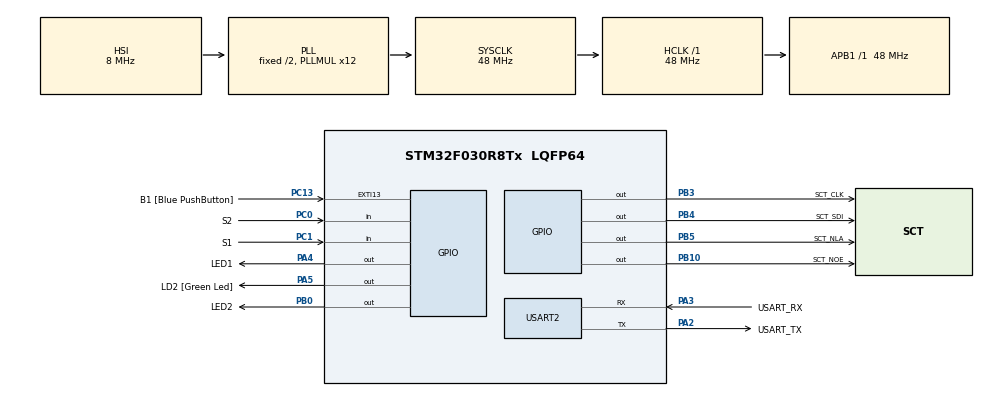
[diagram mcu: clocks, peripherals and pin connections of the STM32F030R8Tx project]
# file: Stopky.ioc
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Mcu.Family=STM32F0
Mcu.Name=STM32F030R8Tx
Mcu.Package=LQFP64
PA13.GPIO_Label=TMS
PA13.Mode=Serial_Wire
PA13.Signal=SYS_SWDIO
PA14.GPIO_Label=TCK
PA14.Mode=Serial_Wire
PA14.Signal=SYS_SWCLK
PA2.GPIO_Label=USART_TX
PA2.GPIO_Mode=GPIO_MODE_AF_PP
PA2.GPIO_PuPd=GPIO_NOPULL
PA2.GPIO_Speed=GPIO_SPEED_FREQ_LOW
PA2.Mode=Asynchronous
PA2.Signal=USART2_TX
PA3.GPIO_Label=USART_RX
PA3.GPIO_Mode=GPIO_MODE_AF_PP
PA3.GPIO_PuPd=GPIO_NOPULL
PA3.GPIO_Speed=GPIO_SPEED_FREQ_LOW
PA3.Mode=Asynchronous
PA3.Signal=USART2_RX
PA4.GPIO_Label=LED1
PA4.Signal=GPIO_Output
PA5.GPIO_Label=LD2 [Green Led]
PA5.GPIO_Mode=GPIO_MODE_OUTPUT_PP
PA5.GPIO_PuPd=GPIO_NOPULL
PA5.GPIO_Speed=GPIO_SPEED_FREQ_LOW
PA5.Signal=GPIO_Output
PB0.GPIO_Label=LED2
PB0.Signal=GPIO_Output
PB10.GPIO_Label=SCT_NOE
PB10.Signal=GPIO_Output
PB3.GPIO_Label=SCT_CLK
PB3.Signal=GPIO_Output
PB4.GPIO_Label=SCT_SDI
PB4.Signal=GPIO_Output
PB5.GPIO_Label=SCT_NLA
PB5.Signal=GPIO_Output
PC0.GPIO_Label=S2
PC0.GPIO_PuPd=GPIO_PULLUP
PC0.Signal=GPIO_Input
PC1.GPIO_Label=S1
PC1.GPIO_PuPd=GPIO_PULLUP
PC1.Signal=GPIO_Input
PC13.GPIO_Label=B1 [Blue PushButton]
PC13.GPIO_ModeDefaultEXTI=GPIO_MODE_IT_FALLING
PC13.Signal=GPXTI13
PC14-OSC32_IN.Mode=LSE-External-Oscillator
PC14-OSC32_IN.Signal=RCC_OSC32_IN
PC15-OSC32_OUT.Mode=LSE-External-Oscillator
PC15-OSC32_OUT.Signal=RCC_OSC32_OUT
PF0-OSC_IN.Mode=HSE-External-Clock-Source
PF0-OSC_IN.Signal=RCC_OSC_IN
PF1-OSC_OUT.Signal=RCC_OSC_OUT
ProjectManager.HeapSize=0x200
ProjectManager.StackSize=0x400
ProjectManager.TargetToolchain=STM32CubeIDE
RCC.AHBFreq_Value=48000000
RCC.APB1Freq_Value=48000000
RCC.APB1TimFreq_Value=48000000
RCC.HCLKFreq_Value=48000000
RCC.PLLMUL=RCC_PLL_MUL12
RCC.SYSCLKFreq_VALUE=48000000
RCC.SYSCLKSource=RCC_SYSCLKSOURCE_PLLCLK
USART2.VirtualMode-Asynchronous=VM_ASYNC
board=NUCLEO-F030R8

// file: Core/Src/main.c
/* USER CODE BEGIN Header */
/**
  ******************************************************************************
  * @file           : main.c
  * @brief          : Main program body
  ******************************************************************************
  * @attention
  *
  * Copyright (c) 2023 STMicroelectronics.
  * All rights reserved.
  *
  * This software is licensed under terms that can be found in the LICENSE file
  * in the root directory of this software component.
  * If no LICENSE file comes with this software, it is provided AS-IS.
  *
  ******************************************************************************
  */
/* USER CODE END Header */
#include "main.h"

/* USER CODE BEGIN Includes */
#include "sct.h"
/* USER CODE END Includes */

/* USER CODE BEGIN PD */
#define SECOND	1000
#define DEBOUNCE_TIME	100
/* USER CODE END PD */

UART_HandleTypeDef huart2;

void SystemClock_Config(void);
static void MX_GPIO_Init(void);
static void MX_USART2_UART_Init(void);
/* USER CODE BEGIN PFP */
uint8_t s1_state_change(uint8_t);
uint8_t s2_state_change(uint8_t);
uint8_t s1_is_released(uint8_t);
uint8_t s2_is_released(uint8_t);
/* USER CODE END PFP */

/* USER CODE BEGIN 0 */
volatile uint32_t Tick;
/* USER CODE END 0 */

int main(void)
{

  /* MCU Configuration--------------------------------------------------------*/

  /* Reset of all peripherals, Initializes the Flash interface and the Systick. */
  HAL_Init();

  /* Configure the system clock */
  SystemClock_Config();

  /* Initialize all configured peripherals */
  MX_GPIO_Init();
  MX_USART2_UART_Init();

  /* Infinite loop */
  /* USER CODE BEGIN WHILE */
  uint8_t minutes = 0;
  uint8_t seconds = 0;
  static uint32_t last_task_time = 0;
  uint8_t timer_started = 0;
  uint8_t s1_push_time = 0;
  uint8_t s2_push_time = 0;
  uint8_t s1_state = HAL_GPIO_ReadPin(S1_GPIO_Port, S1_Pin);
  uint8_t s2_state = HAL_GPIO_ReadPin(S2_GPIO_Port, S2_Pin);
  while (1)
  {
    /* USER CODE END WHILE */

    /* USER CODE BEGIN 3 */
	  if(HAL_GetTick() - last_task_time > SECOND && timer_started)
	  {
		  seconds++;
		  if(seconds == 60)
		  {
			  minutes++;
			  seconds = 0;
		  }
		  last_task_time = HAL_GetTick();
	  }
	  //// DEBOUNCE TLACITKA S1
	  if(s1_state_change(s1_state))
	  {
		  s1_state = HAL_GPIO_ReadPin(S1_GPIO_Port, S1_Pin);
		  if(!s1_push_time)
		  {
			  s1_push_time = HAL_GetTick();
		  }
	  }
	  if(s1_is_released(s1_push_time))
	  {
		  timer_started = !timer_started;
		  s1_push_time = 0;
	  }

	  //// DEBOUNCE TLACITKA S2
	  if(s2_state_change(s2_state))
	  {
		  s2_state = HAL_GPIO_ReadPin(S2_GPIO_Port, S2_Pin);
		  if(!s2_push_time)
		  {
			  s2_push_time = HAL_GetTick();
		  }
	  }
	  if(s2_is_released(s2_push_time))
	  {
		  timer_started = 0;
		  seconds = 0;
		  minutes = 0;
		  s2_push_time = 0;
	  }

	  sct_value(minutes * 100 + seconds, 8, 2);
  }
  /* USER CODE END 3 */
}

void SystemClock_Config(void)
{
  RCC_OscInitTypeDef RCC_OscInitStruct = {0};
  RCC_ClkInitTypeDef RCC_ClkInitStruct = {0};

  /** Initializes the RCC Oscillators according to the specified parameters
  * in the RCC_OscInitTypeDef structure.
  */
  RCC_OscInitStruct.OscillatorType = RCC_OSCILLATORTYPE_HSI;
  RCC_OscInitStruct.HSIState = RCC_HSI_ON;
  RCC_OscInitStruct.HSICalibrationValue = RCC_HSICALIBRATION_DEFAULT;
  RCC_OscInitStruct.PLL.PLLState = RCC_PLL_ON;
  RCC_OscInitStruct.PLL.PLLSource = RCC_PLLSOURCE_HSI;
  RCC_OscInitStruct.PLL.PLLMUL = RCC_PLL_MUL12;
  RCC_OscInitStruct.PLL.PREDIV = RCC_PREDIV_DIV1;
  if (HAL_RCC_OscConfig(&RCC_OscInitStruct) != HAL_OK)
  {
    Error_Handler();
  }

  /** Initializes the CPU, AHB and APB buses clocks
  */
  RCC_ClkInitStruct.ClockType = RCC_CLOCKTYPE_HCLK|RCC_CLOCKTYPE_SYSCLK
                              |RCC_CLOCKTYPE_PCLK1;
  RCC_ClkInitStruct.SYSCLKSource = RCC_SYSCLKSOURCE_PLLCLK;
  RCC_ClkInitStruct.AHBCLKDivider = RCC_SYSCLK_DIV1;
  RCC_ClkInitStruct.APB1CLKDivider = RCC_HCLK_DIV1;

  if (HAL_RCC_ClockConfig(&RCC_ClkInitStruct, FLASH_LATENCY_1) != HAL_OK)
  {
    Error_Handler();
  }
}

static void MX_USART2_UART_Init(void)
{

  huart2.Instance = USART2;
  huart2.Init.BaudRate = 38400;
  huart2.Init.WordLength = UART_WORDLENGTH_8B;
  huart2.Init.StopBits = UART_STOPBITS_1;
  huart2.Init.Parity = UART_PARITY_NONE;
  huart2.Init.Mode = UART_MODE_TX_RX;
  huart2.Init.HwFlowCtl = UART_HWCONTROL_NONE;
  huart2.Init.OverSampling = UART_OVERSAMPLING_16;
  huart2.Init.OneBitSampling = UART_ONE_BIT_SAMPLE_DISABLE;
  huart2.AdvancedInit.AdvFeatureInit = UART_ADVFEATURE_NO_INIT;
  if (HAL_UART_Init(&huart2) != HAL_OK)
  {
    Error_Handler();
  }

}

static void MX_GPIO_Init(void)
{
  GPIO_InitTypeDef GPIO_InitStruct = {0};

  /* GPIO Ports Clock Enable */
  __HAL_RCC_GPIOC_CLK_ENABLE();
  __HAL_RCC_GPIOF_CLK_ENABLE();
  __HAL_RCC_GPIOA_CLK_ENABLE();
  __HAL_RCC_GPIOB_CLK_ENABLE();

  /*Configure GPIO pin Output Level */
  HAL_GPIO_WritePin(GPIOA, LED1_Pin|LD2_Pin, GPIO_PIN_RESET);

  /*Configure GPIO pin Output Level */
  HAL_GPIO_WritePin(GPIOB, LED2_Pin|SCT_NOE_Pin|SCT_CLK_Pin|SCT_SDI_Pin
                          |SCT_NLA_Pin, GPIO_PIN_RESET);

  /*Configure GPIO pin : B1_Pin */
  GPIO_InitStruct.Pin = B1_Pin;
  GPIO_InitStruct.Mode = GPIO_MODE_IT_FALLING;
  GPIO_InitStruct.Pull = GPIO_NOPULL;
  HAL_GPIO_Init(B1_GPIO_Port, &GPIO_InitStruct);

  /*Configure GPIO pins : S2_Pin S1_Pin */
  GPIO_InitStruct.Pin = S2_Pin|S1_Pin;
  GPIO_InitStruct.Mode = GPIO_MODE_INPUT;
  GPIO_InitStruct.Pull = GPIO_PULLUP;
  HAL_GPIO_Init(GPIOC, &GPIO_InitStruct);

  /*Configure GPIO pins : LED1_Pin LD2_Pin */
  GPIO_InitStruct.Pin = LED1_Pin|LD2_Pin;
  GPIO_InitStruct.Mode = GPIO_MODE_OUTPUT_PP;
  GPIO_InitStruct.Pull = GPIO_NOPULL;
  GPIO_InitStruct.Speed = GPIO_SPEED_FREQ_LOW;
  HAL_GPIO_Init(GPIOA, &GPIO_InitStruct);

  /*Configure GPIO pins : LED2_Pin SCT_NOE_Pin SCT_CLK_Pin SCT_SDI_Pin
                           SCT_NLA_Pin */
  GPIO_InitStruct.Pin = LED2_Pin|SCT_NOE_Pin|SCT_CLK_Pin|SCT_SDI_Pin
                          |SCT_NLA_Pin;
  GPIO_InitStruct.Mode = GPIO_MODE_OUTPUT_PP;
  GPIO_InitStruct.Pull = GPIO_NOPULL;
  GPIO_InitStruct.Speed = GPIO_SPEED_FREQ_LOW;
  HAL_GPIO_Init(GPIOB, &GPIO_InitStruct);

}

/* USER CODE BEGIN 4 */
uint8_t s1_state_change(uint8_t state){
	return HAL_GPIO_ReadPin(S1_GPIO_Port, S1_Pin) != state;
}

uint8_t s2_state_change(uint8_t state){
	return HAL_GPIO_ReadPin(S2_GPIO_Port, S2_Pin) != state;
}

uint8_t s1_is_released(uint8_t push_time){
	return (push_time && HAL_GetTick() - push_time > DEBOUNCE_TIME) && (HAL_GPIO_ReadPin(S1_GPIO_Port, S1_Pin) == GPIO_PIN_RESET);
}

uint8_t s2_is_released(uint8_t push_time){
	return (push_time && HAL_GetTick() - push_time > DEBOUNCE_TIME) && (HAL_GPIO_ReadPin(S2_GPIO_Port, S2_Pin) == GPIO_PIN_RESET);
}
/* USER CODE END 4 */

void Error_Handler(void)
{
  __disable_irq();
  while (1)
  {
  }
}
